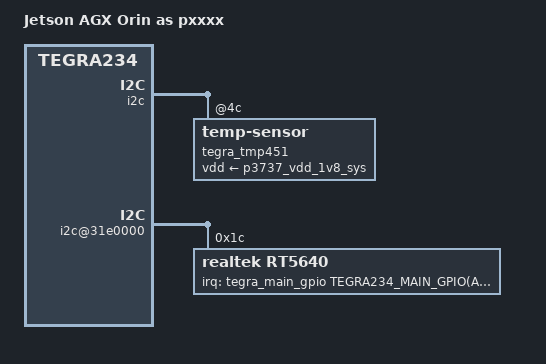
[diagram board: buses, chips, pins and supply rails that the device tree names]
// SPDX-License-Identifier: GPL-2.0-only
/*
 * Top level DTS file for CVM:P3701-0000 and CVB:P3737-0000.
 *
 * Copyright (c) 2021-2022, NVIDIA CORPORATION & AFFILIATES. All rights reserved.
 *
 */

/dts-v1/;
#include "cvm/tegra234-p3701-0000.dtsi"
#include "cvb/tegra234-p3737-0000-a04.dtsi"
#include "tegra234-power-tree-p3701-0000-p3737-0000.dtsi"
#include "tegra234-dcb-p3701-0000-a02-p3737-0000-a01.dtsi"
#include <tegra234-soc/mods-simple-bus.dtsi>
#include "cvb/tegra234-p3737-0000-camera-imx274-dual.dtsi"
#include <t234-common-cvm/tegra234-cpuidle.dtsi>
#include <t234-common-cvm/tegra234-thermal.dtsi>
#include <tegra234-soc/tegra234-soc-hwpm.dtsi>

/ {
	nvidia,dtsfilename = __FILE__;
	nvidia,dtbbuildtime = __DATE__, __TIME__;

	compatible = "nvidia,p3737-0000+p3701-0000-as-pxxxx", "nvidia,tegra234", "nvidia,tegra23x";
	model = "Jetson AGX Orin as pxxxx";

	display@13800000 {
		status = "okay";
	};

	dce@d800000 {
		status = "okay";
	};

	bpmp {
		i2c {
			tegra_tmp451: temp-sensor@4c {
				vdd-supply = <&p3737_vdd_1v8_sys>;

				ext {
					shutdown-limit = <170>;
				};
			};
		};
	};

	reserved-memory {
		linux,cma {
			status = "okay";
		};
	};

	tegra_soc_hwpm {
                status = "okay";
        };

        tegra-cache {
		status = "disabled";
	};

	tegra-hsp@3d00000 {
		status = "okay";
	};

	aon@c000000 {
		status = "okay";
	};

	i2c@31e0000 {
		rt5640: rt5640.8-001c@1c {
			compatible = "realtek,rt5640";
			reg = <0x1c>;

			clocks = <&bpmp TEGRA234_CLK_AUD_MCLK>;
			clock-names = "mclk";

			realtek,dmic1-data-pin = <0>; /* RT5659_DMIC1_NULL */
			realtek,dmic2-data-pin = <0>; /* RT5659_DMIC2_NULL */
			realtek,jack-detect-source = <7>;

			/* Codec IRQ output */
			interrupt-parent = <&tegra_main_gpio>;
			interrupts = <TEGRA234_MAIN_GPIO(AC, 5) GPIO_ACTIVE_HIGH>;

			#sound-dai-cells = <1>;
			sound-name-prefix = "CVB-RT";

			status = "okay";
		};
	};

	sound {
		nvidia-audio-card,widgets =
			"Headphone",    "CVB-RT Headphone Jack",
			"Microphone",   "CVB-RT Mic Jack",
			"Speaker",      "CVB-RT Int Spk",
			"Microphone",   "CVB-RT Int Mic";

		nvidia-audio-card,routing =
			"CVB-RT Headphone Jack",     "CVB-RT HPOL",
			"CVB-RT Headphone Jack",     "CVB-RT HPOR",
			"CVB-RT IN1P",               "CVB-RT Mic Jack",
			"CVB-RT IN2P",               "CVB-RT Mic Jack",
			"CVB-RT Int Spk",            "CVB-RT SPOLP",
			"CVB-RT Int Spk",            "CVB-RT SPORP",
			"CVB-RT DMIC1",              "CVB-RT Int Mic",
			"CVB-RT DMIC2",              "CVB-RT Int Mic";

		nvidia-audio-card,mclk-fs = <256>;
	};
};

&i2s1_to_codec {
	link-name = "rt5640-playback";
	codec {
		sound-dai = <&rt5640 0>;
		prefix = "CVB-RT";
	};
};

/ {
	funnel_top_ccplex@26020000 {
		in-ports {
			/delete-node/ port@2;
		};
	};

	/delete-node/ funnel_ccplex2@26050000;
	/delete-node/ cpu11_etm@27B40000;
	/delete-node/ cpu10_etm@27A40000;
	/delete-node/ cpu9_etm@27940000;
	/delete-node/ cpu8_etm@27840000;
	/delete-node/ dsu-pmu-2;

	cpus {
		cpu-map {
			/delete-node/ cluster2;
		};
		/delete-node/ cpu@8;
		/delete-node/ cpu@9;
		/delete-node/ cpu@10;
		/delete-node/ cpu@11;
	};
};
